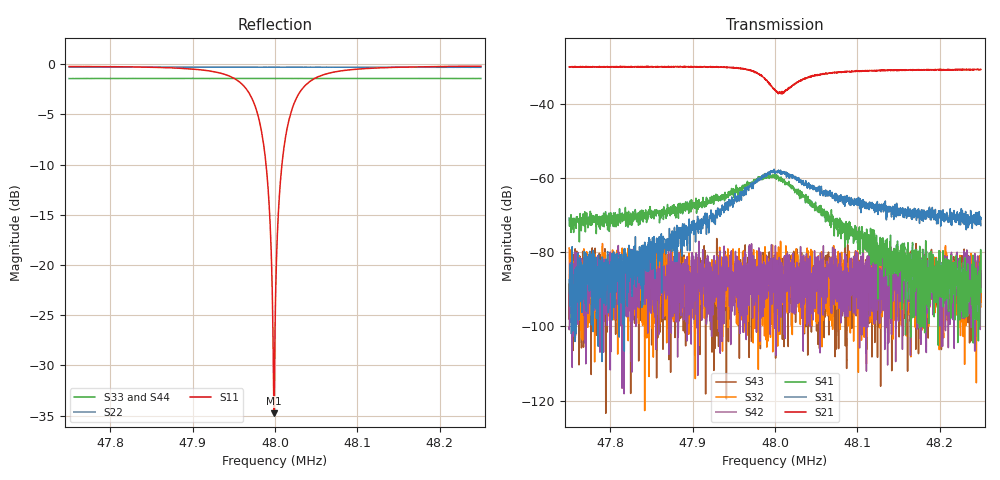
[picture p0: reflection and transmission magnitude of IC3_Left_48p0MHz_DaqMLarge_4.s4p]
#  HZ  S  DB  R  50.00
! Rohde & Schwarz Vector Network Analyzer
! Rohde-Schwarz,ZNB8-4Port,1311601044102961,2.82
! Created: UTC 2/12/2019, 11:35:41 AM
! freq[Hz]  db:S11  ang:S11  db:S12  ang:S12  db:S13  ang:S13  db:S14  ang:S14
!  db:S21  ang:S21  db:S22  ang:S22  db:S23  ang:S23  db:S24  ang:S24
!  db:S31  ang:S31  db:S32  ang:S32  db:S33  ang:S33  db:S34  ang:S34
!  db:S41  ang:S41  db:S42  ang:S42  db:S43  ang:S43  db:S44  ang:S44
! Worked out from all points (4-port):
!   2001 points, 47.75 MHz to 48.25 MHz, reference 50 ohm
!   strongest paths, dB at 47.75 MHz, 47.875 MHz, 48 MHz, 48.125 MHz, 48.25 MHz:
!     S21: -30.1, -30.1, -36.3, -31.0, -30.8
!     S31: -87.4, -75.5, -58.4, -69.9, -72.9
!     S41: -70.8, -69.3, -59.7, -79.0, -90.8
!     S42: -100.2, -86.1, -81.8, -87.1, -85.2
!     S32: -78.9, -81.6, -92.9, -87.7, -94.8
!     S43: -88.7, -86.6, -86.9, -99.4, -84.5
!   lowest |S11| = -34.8 dB at 47.999 MHz (marker M1), VSWR 1.04, Z = 48.2 + j0.141 ohm
!   |S11| at or under -10 dB: 47.98912 MHz to 48.00844 MHz (19.32 kHz wide, 0.0402 % of centre)
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4.775e7  -0.23 0.4  -30.09 -144.9  -98.35 71.6  -71.10 -24.1
         -30.12 -144.1  -0.29 -109.2  -87.08 -53.3  -94.11 -145.0
         -87.43 -20.6  -78.90 56.9  -1.44 131.5  -86.70 -21.3
         -70.84 -36.0  -100.25 85.0  -88.69 64.8  -1.38 125.9
4.7965e7  -2.45 -43.3  -30.79 -169.2  -63.68 110.0  -61.84 -60.9
          -30.73 -169.8  -0.31 -113.4  -94.15 108.8  -81.47 -156.8
          -62.63 106.5  -85.55 -3.2  -1.43 128.8  -95.65 -153.1
          -62.61 -62.4  -103.57 123.7  -93.52 -43.4  -1.37 123.3
4.7988e7  -9.14 -75.6  -33.42 -179.9  -59.62 78.0  -59.59 -96.3
          -33.34 179.9  -0.30 -113.9  -84.25 -57.8  -88.99 174.7
          -59.47 77.7  -91.82 -63.8  -1.43 128.6  -90.26 96.7
          -59.34 -96.4  -92.73 130.8  -85.00 18.3  -1.37 123.0
4.799875e7  -34.76 175.4  -35.99 -174.1  -58.02 61.2  -59.22 -116.9
            -36.08 -172.8  -0.31 -114.1  -88.52 -33.8  -87.65 -40.8
            -58.60 62.1  -88.73 33.6  -1.43 128.5  -84.02 119.8
            -59.47 -113.4  -86.41 -26.3  -90.28 115.7  -1.37 122.9
4.80095e7  -9.21 67.8  -37.13 -150.9  -58.64 35.6  -60.44 -131.7
           -37.00 -149.6  -0.30 -114.3  -91.89 -48.4  -89.41 60.1
           -58.75 38.3  -85.59 -148.0  -1.42 128.3  -91.04 12.5
           -61.29 -139.2  -87.55 28.8  -85.28 29.5  -1.37 122.8
4.803275e7  -2.49 35.8  -33.60 -135.7  -61.25 13.3  -64.52 -170.3
            -33.62 -136.7  -0.30 -114.8  -80.05 -24.7  -86.29 -158.5
            -60.80 7.0  -97.86 -36.2  -1.43 128.0  -84.32 30.6
            -64.90 -167.9  -97.79 -14.8  -91.61 135.9  -1.37 122.5
4.825e7  -0.20 -7.2  -30.84 -153.3  -70.68 -20.5  -88.21 -16.0
         -30.81 -153.4  -0.31 -119.1  -90.10 18.3  -89.29 116.8
         -72.88 -29.2  -94.77 150.5  -1.43 125.3  -81.38 3.1
         -90.82 -124.7  -85.23 -38.6  -84.46 -114.7  -1.38 119.9
